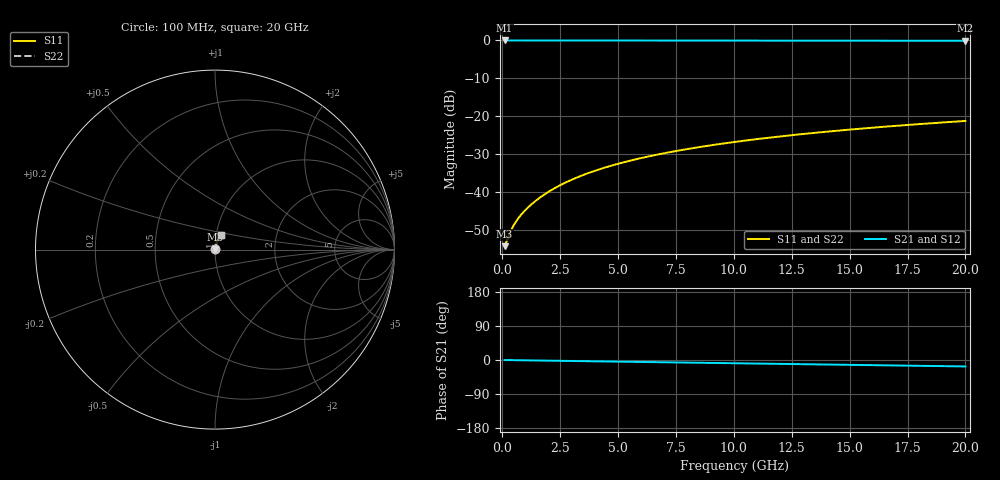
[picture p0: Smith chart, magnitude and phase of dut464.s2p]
! Touchstone file exported from HFSS 2026.1.0
!  File:  C:/ffzhzh/LocalFiles/Ansys_Project_Files/temp_train_TMRDL_464_1783006053_55676.aedt
!  Generated:  11:29:22 PM Jul  2, 2026
!  Design:  TMRDL
!  Project:  temp_train_TMRDL_464_1783006053_55676
! Variables:
!  h_bsmrdl = 2um
!  h_ox = 20um
!  h_rdl = 5um
!  h_sub = 80um
!  h_tmrdl = 2.72um
!  h_tsv = 80um
!  h_via = 3um
!  l_bsmrdl = 300um
!  l_sub = 670.91um
!  l_tmrdl = 270.91um
!  m_sub = 200um
!  pitch = 31.93um
!  r_tsv = 6um
!  s_tmrdl = 10um
!  w_bsmrdl = 18um
!  w_sub = 500um
!  w_tmrdl = 23.54um
!  x_tsv_center1 = 282.68um
!  x_tsv_center2 = 600.68um
!  x_tsv_center3 = 895.13um
!  x_tsv_center4 = 1213.13um
!  x_tsv_center5 = 1507.58um
!  x_tsv_center6 = 1825.58um
# GHz S MA R 50.000000
! Terminal data exported
! Port[1] = TM_RDL1_1_T1
! Port[2] = TM_RDL1_1_T2
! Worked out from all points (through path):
!   200 points, 100 MHz to 20 GHz, reference 50 ohm
!   highest |S21| = -0.02 dB at 100 MHz (marker M1); lowest = -0.1 dB at 20 GHz (marker M2)
!   group delay of S21, straight-line fit = 2.36 ps
!   lowest |S11| = -54.3 dB at 100 MHz (marker M3), VSWR 1.00, Z = 50.2 + j0.0658 ohm
!   |S11| at or under -10 dB: start of sweep to end of sweep
!   |S22| runs from -54.3 to -21.3 dB; largest |S21 - S12| = 9.3e-15
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0.1  0.001929 19.9  0.9982 -0.1  0.9982 -0.1  0.001929 19.9
! Gamma 0 0 0 0
! Port Impedance 50 0 50 0
0.3  0.002746 42.6  0.998 -0.3  0.998 -0.3  0.002746 42.6
0.4  0.003214 48.0  0.9978 -0.4  0.9978 -0.4  0.003214 48.0
0.5  0.00367 51.8  0.9977 -0.5  0.9977 -0.5  0.00367 51.8
0.6  0.00411 54.7  0.9976 -0.6  0.9976 -0.6  0.00411 54.7
0.7  0.004538 57.1  0.9976 -0.6  0.9976 -0.6  0.004538 57.1
0.9  0.005375 60.9  0.9974 -0.8  0.9974 -0.8  0.005375 60.9
1.2  0.006626 65.2  0.9973 -1.1  0.9973 -1.1  0.006626 65.2
1.7  0.008761 69.9  0.9972 -1.5  0.9972 -1.5  0.008761 69.9
2.2  0.01095 72.8  0.9971 -1.9  0.9971 -1.9  0.01095 72.8
2.8  0.01363 74.9  0.9969 -2.4  0.9969 -2.4  0.01363 74.9
3.5  0.01679 76.2  0.9968 -3.0  0.9968 -3.0  0.01679 76.2
4.2  0.01995 76.9  0.9965 -3.7  0.9965 -3.7  0.01995 76.9
5  0.02357 77.2  0.9963 -4.3  0.9963 -4.3  0.02357 77.2
5.9  0.02761 77.2  0.9959 -5.1  0.9959 -5.1  0.02761 77.2
6.8  0.03162 77.0  0.9956 -5.9  0.9956 -5.9  0.03162 77.0
8.3  0.03823 76.3  0.9949 -7.2  0.9949 -7.2  0.03823 76.3
10.1  0.04603 75.2  0.994 -8.7  0.994 -8.7  0.04603 75.2
11.7  0.05283 74.1  0.9932 -10.1  0.9932 -10.1  0.05283 74.1
13.4  0.05994 72.9  0.9923 -11.5  0.9923 -11.5  0.05994 72.9
16.7  0.07343 70.5  0.9905 -14.3  0.9905 -14.3  0.07343 70.5
20  0.08655 68.0  0.9887 -17.0  0.9887 -17.0  0.08655 68.0
